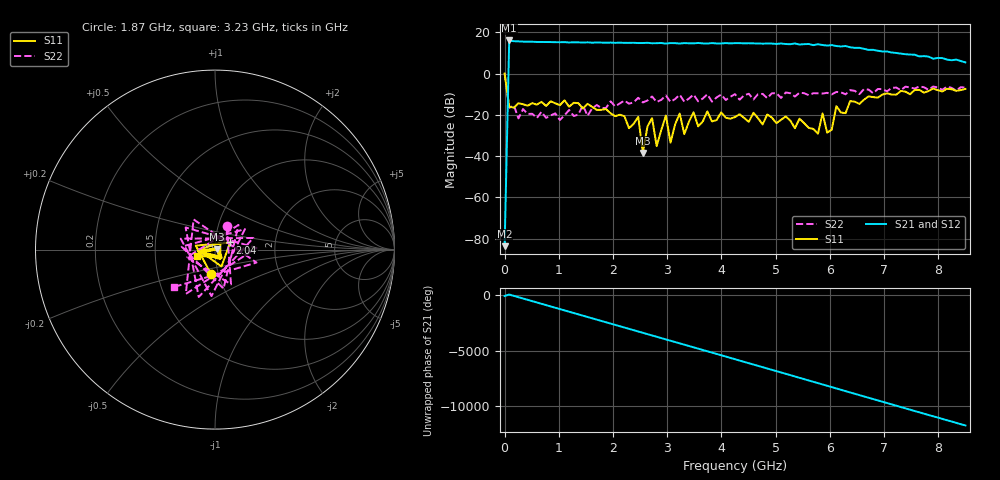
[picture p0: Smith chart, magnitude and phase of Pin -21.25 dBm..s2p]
! RsaToolbox (C) 2013 Rohde & Schwarz America
! Number of points: 101
! Number of ports: 2
! Balanced ports?: 0
# Hz S RI R 50
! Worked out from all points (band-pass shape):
!   101 points, 9 kHz to 8.5 GHz, reference 50 ohm
!   highest |S21| = 16.10 dB at 85.01 MHz (marker M1); lowest = -83.7 dB at 9 kHz (marker M2)
!   |S21| within 3 dB of the highest: 82.45 MHz to 6.332 GHz (6.25 GHz wide, 195 % of centre)
!   lowest |S11| = -38.4 dB at 2.55 GHz (marker M3), VSWR 1.02, Z = 51.2 + j0.218 ohm
!   |S11| at or under -10 dB: 53.44 MHz to 6.99 GHz (6.937 GHz wide, 197 % of centre); 7.119 GHz to 7.235 GHz (116 MHz wide, 1.62 % of centre)
!   |S22| runs from -22.5 to 0.2 dB; largest |S21 - S12| = 0
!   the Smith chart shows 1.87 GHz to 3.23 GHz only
!   S11 on the Smith chart (normalised r, x): 1.87 GHz: 0.92, -0.26; 2.04 GHz: 1.18, +0.09; 3.23 GHz: 0.81, -0.06
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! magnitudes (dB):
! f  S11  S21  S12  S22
! 9 kHz  0.1  -83.7  -83.7  0.2
! 85.01 MHz  -16.0  16.1  16.1  -16.6
! 1.02 GHz  -15.3  15.2  15.2  -22.5
! 1.445 GHz  -16.9  15.1  15.1  -15.3
! 1.87 GHz  -17.2  15.0  15.0  -16.7
! 2.04 GHz  -20.6  15.0  15.0  -15.9
! 2.465 GHz  -20.9  14.8  14.8  -11.7
! 2.55 GHz  -38.4  14.9  14.9  -14.0
! 2.72 GHz  -21.6  14.7  14.7  -11.1
! 2.805 GHz  -35.2  14.8  14.8  -13.8
! 2.89 GHz  -27.3  14.9  14.9  -12.7
! 2.975 GHz  -20.3  14.6  14.6  -10.6
! 3.06 GHz  -33.5  14.8  14.8  -13.7
! 3.23 GHz  -19.4  14.6  14.6  -10.2
! 3.315 GHz  -29.3  14.8  14.8  -13.6
! 3.485 GHz  -18.7  14.7  14.7  -10.1
! 3.57 GHz  -25.6  14.9  14.9  -13.4
! 4.25 GHz  -21.0  14.8  14.8  -9.9
! 5.695 GHz  -26.8  13.8  13.8  -9.5
! 6.12 GHz  -15.8  13.4  13.4  -8.8
! 7.14 GHz  -10.2  10.3  10.3  -6.9
! 8.5 GHz  -7.4  5.5  5.5  -6.7
